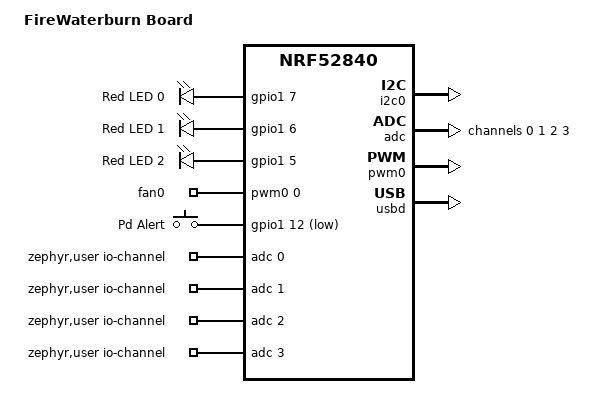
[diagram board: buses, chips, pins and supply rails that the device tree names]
// Copyright (c) 2023 Nordic Semiconductor ASA
// SPDX-License-Identifier: Apache-2.0

/dts-v1/;
#include <nordic/nrf52840_qiaa.dtsi>
#include "fire_board-pinctrl.dtsi"
/ {
	model = "FireWaterburn Board";
	compatible = "fire-gmbh,fire-board";

	chosen {
		zephyr,sram = &sram0;
		zephyr,flash = &flash0;
		zephyr,code-partition = &slot0_partition;
	};
	
	leds {
		compatible = "gpio-leds";
		led0: led_0 {
			gpios = <&gpio1 7 GPIO_ACTIVE_HIGH>;
			label = "Red LED 0";
		};
		led1: led_1 {
			gpios = <&gpio1 6 GPIO_ACTIVE_HIGH>;
			label = "Red LED 1";
		};
		led2: led_2 {
			gpios = <&gpio1 5 GPIO_ACTIVE_HIGH>;
			label = "Red LED 2";
		};
	};

    fans {
        compatible = "pwm-leds";

        fan0: pwm_0 {
            pwms = <&pwm0 0 PWM_HZ(600) PWM_POLARITY_NORMAL>;
        };
    };
	
	buttons {
		compatible = "gpio-keys";

		button0: button_0 {
			gpios = <&gpio1 12 GPIO_ACTIVE_LOW>;
			label = "Pd Alert";
		};
	};
	
	aliases {
		led0 = &led0;
		led1 = &led1;
		led2 = &led2;
		pdalert = &button0;
        fan = &fan0;
	};

    zephyr,user {
        io-channels = <&adc 0>, <&adc 1>, <&adc 2>, <&adc 3>;
    };
};



&gpiote {
	status = "okay";
};

&gpio0 {
	status = "okay";
};

&gpio1 {
	status = "okay";
};

&i2c0 {
	compatible = "nordic,nrf-twim";
	status = "okay";
	pinctrl-0 = <&i2c0_default>;
	pinctrl-1 = <&i2c0_sleep>;
	pinctrl-names = "default", "sleep";
};

&adc {
	status = "okay";

    #address-cells = <1>;
    #size-cells = <0>;

    channel@0 {
        reg = <0>;
        zephyr,gain = "ADC_GAIN_1_4";
        zephyr,reference = "ADC_REF_VDD_1_4";
        zephyr,acquisition-time = <ADC_ACQ_TIME_DEFAULT>;
        zephyr,input-positive = <NRF_SAADC_AIN0>;
        zephyr,resolution = <12>;
    };

    channel@1 {
        reg = <1>;
        zephyr,gain = "ADC_GAIN_1_4";
        zephyr,reference = "ADC_REF_VDD_1_4";
        zephyr,acquisition-time = <ADC_ACQ_TIME_DEFAULT>;
        zephyr,input-positive = <NRF_SAADC_AIN5>;
        zephyr,resolution = <12>;
    };

    channel@2 {
        reg = <2>;
        zephyr,gain = "ADC_GAIN_1_4";
        zephyr,reference = "ADC_REF_VDD_1_4";
        zephyr,acquisition-time = <ADC_ACQ_TIME_DEFAULT>;
        zephyr,input-positive = <NRF_SAADC_AIN1>;
        zephyr,resolution = <12>;
    };

    channel@3 {
        reg = <3>;
        zephyr,gain = "ADC_GAIN_1_5";
        zephyr,reference = "ADC_REF_INTERNAL";
        zephyr,acquisition-time = <ADC_ACQ_TIME_DEFAULT>;
        zephyr,input-positive = <NRF_SAADC_AIN6>;
        zephyr,resolution = <12>;
    };
};

&flash0 {
	partitions {
		compatible = "fixed-partitions";
		#address-cells = <1>;
		#size-cells = <1>;

		boot_partition: partition@0 {
			label = "mcuboot";
			reg = <0x0 0xc000>;
		};
		slot0_partition: partition@c000 {
			label = "image-0";
			reg = <0xc000 0x72000>;
		};
		slot1_partition: partition@7e000 {
			label = "image-1";
			reg = <0x7e000 0x72000>;
		};
		scratch_partition: partition@f0000 {
			label = "image-scratch";
			reg = <0xf0000 0xa000>;
		};
		storage_partition: partition@fa000 {
			label = "storage";
			reg = <0xfa000 0x6000>;
		};
	};
};

&pwm0 {
    status = "okay";
    pinctrl-0 = <&pwm0_default>;
    pinctrl-1 = <&pwm0_sleep>;
    pinctrl-names = "default", "sleep";
};

zephyr_udc0: &usbd {
	compatible = "nordic,nrf-usbd";
	status = "okay";
};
